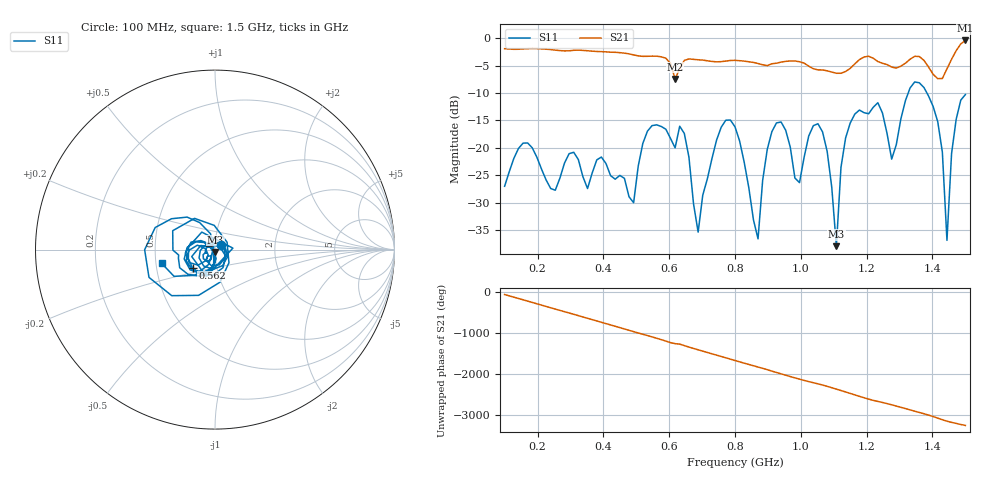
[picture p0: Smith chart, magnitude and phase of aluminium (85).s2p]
! NanoVNA-App
! Date: 2025-09-25 14:55:56
! Start: 100MHz Stop: 1,5GHz Points: 101
! S-Parameter data: F S11 S21 S12 S22
# Hz S RI R 50
!  Frequency  S11_Real  S11_Imag  S21_Real  S21_Imag  S12_Real  S12_Imag  S22_Real  S22_Imag
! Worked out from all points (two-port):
!   101 points, 100 MHz to 1.5 GHz, reference 50 ohm
!   highest |S21| = -0.42 dB at 1.5 GHz (marker M1); lowest = -7.4 dB at 618 MHz (marker M2)
!   |S21| within 3 dB of the highest: start of sweep to 576.9 MHz; 1.462 GHz to end of sweep (the widest 2 of 4)
!   lowest |S11| = -37.9 dB at 1.108 GHz (marker M3), VSWR 1.03, Z = 50.1 - j1.27 ohm
!   |S11| at or under -10 dB: start of sweep to 1.326 GHz; 1.383 GHz to end of sweep
!   S12 and S22 are empty: the file has one direction only
!   S11 on the Smith chart (normalised r, x): 100 MHz: 1.07, +0.06; 562 MHz: 0.76, -0.16; 1.5 GHz: 0.54, -0.09
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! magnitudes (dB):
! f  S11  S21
! 100 MHz  -27.0  -1.9
! 338 MHz  -25.3  -2.2
! 492 MHz  -30.0  -3.0
! 562 MHz  -15.8  -3.3
! 576 MHz  -16.1  -3.4
! 618 MHz  -20.0  -7.4
! 646 MHz  -17.4  -4.1
! 688 MHz  -35.4  -3.9
! 800 MHz  -16.2  -4.0
! 870 MHz  -36.6  -4.6
! 912 MHz  -17.0  -4.7
! 996 MHz  -26.3  -4.3
! 1.038 GHz  -16.0  -5.6
! 1.08 GHz  -20.6  -6.0
! 1.108 GHz  -37.9  -6.4
! 1.164 GHz  -13.8  -4.7
! 1.276 GHz  -22.0  -5.3
! 1.374 GHz  -9.0  -4.1
! 1.43 GHz  -20.8  -7.4
! 1.444 GHz  -36.9  -5.6
! 1.458 GHz  -21.0  -3.8
! 1.5 GHz  -10.3  -0.4
